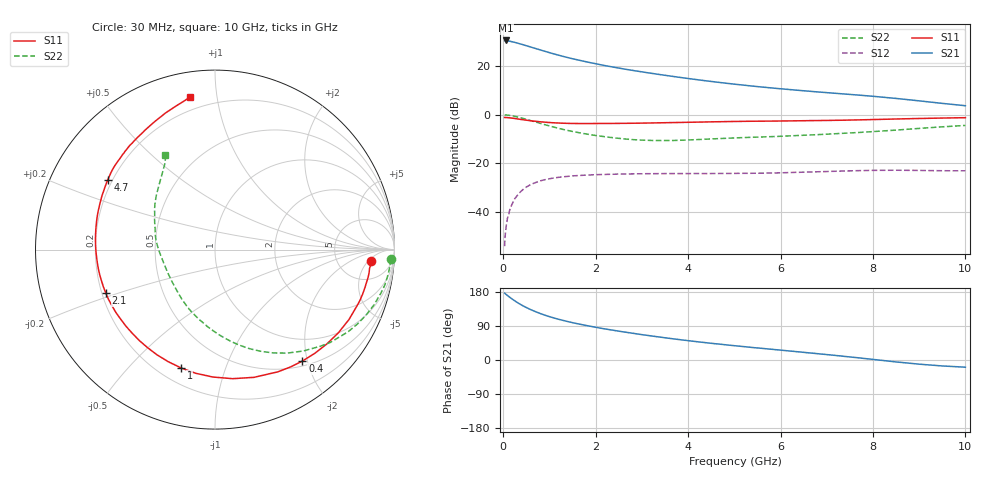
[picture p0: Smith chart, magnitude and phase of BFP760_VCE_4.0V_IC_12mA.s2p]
! Infineon Technologies  Discrete & RF Semiconductors
! BFP760
! VCE =  4.0 V,  IC =  12 mA
! Common Emitter S-Parameters:  Nov 2012
# GHz  S  MA  R  50
!  f  S11  S21  S12  S22
! GHz  MAG  ANG  MAG  ANG  MAG  ANG  MAG  ANG
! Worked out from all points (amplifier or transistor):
!   99 points, 30 MHz to 10 GHz, reference 50 ohm
!   highest |S21| = 30.4 dB at 50 MHz (marker M1)
!   |S21| within 3 dB of that: start of sweep to 647.7 MHz
!   unconditionally stable (mu >= 1): 5.268 GHz to end of sweep
!   at 350 MHz: K = 0.17, MSG = 30.6 dB, |S12| = -32.1 dB
!   at 3.5 GHz: K = 0.74, MSG = 20.1 dB, |S12| = -24.2 dB
!   at 10 GHz: K = 1.14, MAG = 11.1 dB, |S12| = -23.1 dB
!   S11 on the Smith chart (normalised r, x): 30 MHz: 11, -6; 400 MHz: 0.58, -1.91; 1 GHz: 0.29, -0.71; 2.1 GHz: 0.22, -0.18; 4.7 GHz: 0.18, +0.29; 10 GHz: 0.13, +0.84
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0.03  0.871 -4.3  32.68 176.5  0.002 69.8  0.98 -3.1
0.04  0.8712 -5.7  32.66 175.7  0.0031 72.7  0.9797 -4.0
0.05  0.8673 -7.0  33 174.1  0.0039 77.9  0.9786 -4.8
0.15  0.8525 -20.9  31.73 164.7  0.0119 72.8  0.9561 -14.6
0.25  0.8293 -33.9  30.16 156.1  0.0188 70.4  0.917 -23.5
0.3  0.8154 -40.1  29.26 152.1  0.0216 66.6  0.8953 -27.6
0.4  0.7891 -51.9  27.52 144.9  0.0275 61.6  0.8452 -35.4
0.5  0.766 -62.7  25.75 138.5  0.0326 56.5  0.7968 -42.5
0.6  0.7442 -73.0  24.12 132.6  0.0369 52.1  0.7487 -49.0
0.8  0.7099 -91.1  21.15 122.7  0.0436 44.7  0.6601 -60.7
1  0.6859 -106.0  18.57 114.4  0.0482 38.6  0.5837 -70.9
1.3  0.6631 -124.5  15.52 104.3  0.0529 32.0  0.4938 -84.1
1.5  0.6557 -134.6  13.92 98.5  0.0551 28.6  0.449 -91.9
1.7  0.6531 -143.5  12.62 93.4  0.0566 25.9  0.4127 -99.2
2.1  0.655 -158.4  10.52 84.1  0.0588 21.4  0.361 -113.6
2.6  0.6596 -173.2  8.629 74.2  0.0603 17.4  0.3176 -130.0
3.4  0.6763 168.0  6.573 60.3  0.0614 13.5  0.2928 -155.2
4.7  0.7126 147.0  4.522 41.6  0.0619 10.6  0.3221 175.8
5.1  0.7228 142.7  4.098 36.6  0.0622 10.5  0.3342 170.2
6.7  0.7506 128.8  2.962 17.9  0.0666 10.4  0.3831 151.4
8.5  0.81 109.8  2.138 -5.1  0.0721 4.5  0.4792 130.4
10  0.8614 99.4  1.515 -19.0  0.0702 2.5  0.5974 117.6
